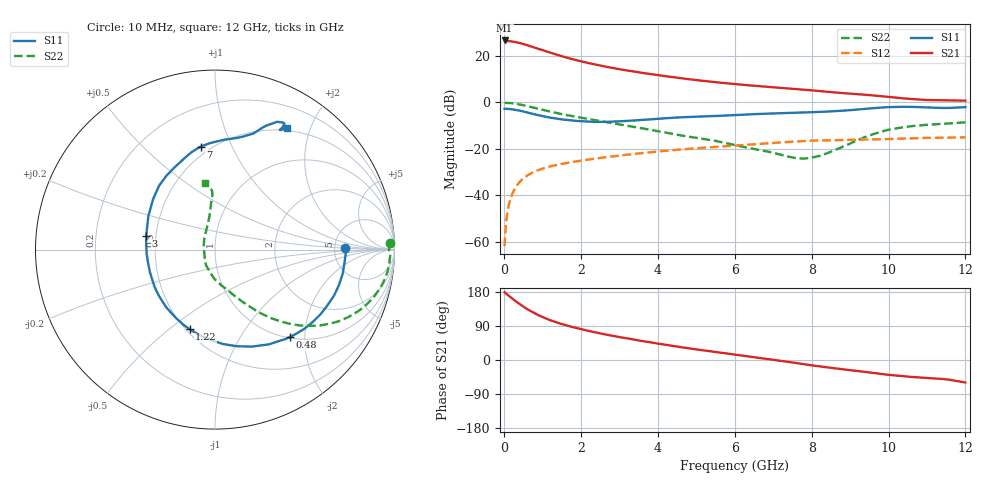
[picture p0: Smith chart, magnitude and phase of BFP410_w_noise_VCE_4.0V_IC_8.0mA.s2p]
! Infineon Technologies  Discrete & RF Semiconductors
! BFP410
! VCE =  4.0 V,  IC =  8.0 mA
! Common Emitter S-Parameters:  Nov 2015
# GHz  S  MA  R  50
!  f  S11  S21  S12  S22
! GHz  MAG  ANG  MAG  ANG  MAG  ANG  MAG  ANG
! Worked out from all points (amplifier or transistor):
!   243 points, 10 MHz to 12 GHz, reference 50 ohm
!   highest |S21| = 26.7 dB at 10 MHz (marker M1)
!   |S21| within 3 dB of that: start of sweep to 776.3 MHz
!   unconditionally stable (mu >= 1): start of sweep to 18.04 MHz; 2.638 GHz to end of sweep
!   at 240 MHz: K = 0.20, MSG = 32.2 dB, |S12| = -38.3 dB
!   at 1.84 GHz: K = 0.78, MSG = 21.9 dB, |S12| = -25.5 dB
!   at 12 GHz: K = 1.05, MAG = 6.6 dB, |S12| = -15.0 dB
!   lowest NFmin = 1.18 dB at 900 MHz
!   S11 on the Smith chart (normalised r, x): 10 MHz: 6.27, +0.27; 480 MHz: 1.02, -1.69; 1.22 GHz: 0.52, -0.59; 3 GHz: 0.44, +0.08; 7 GHz: 0.44, +0.77; 12 GHz: 0.46, +1.66
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0.01  0.7253 0.8  21.57 178.8  0.0008 24.3  0.9757 2.3
0.09  0.7239 -9.5  21.01 171.8  0.0047 77.4  0.9746 -4.3
0.2  0.7109 -21.2  20.52 163.0  0.0102 76.1  0.959 -10.1
0.26  0.6968 -27.5  20.07 158.1  0.0131 74.3  0.9453 -13.0
0.38  0.6693 -39.7  19.16 149.1  0.0184 70.3  0.9097 -18.4
0.48  0.6408 -49.4  18.23 142.0  0.0224 67.0  0.8755 -22.5
0.6  0.6073 -60.4  17.03 134.0  0.0266 63.4  0.8313 -27.0
0.8  0.5522 -77.2  15.05 122.7  0.0326 58.5  0.7584 -33.0
1  0.5043 -92.7  13.27 113.1  0.0375 54.7  0.6901 -38.0
1.22  0.4652 -107.7  11.59 104.2  0.0422 51.7  0.626 -42.3
1.4  0.4404 -119.0  10.41 97.9  0.0455 49.8  0.5804 -45.2
1.6  0.421 -130.2  9.337 91.7  0.049 48.0  0.5374 -47.9
2.02  0.3917 -150.9  7.59 80.9  0.0561 45.2  0.4651 -52.4
2.5  0.3801 -172.6  6.209 70.2  0.0638 42.3  0.3942 -57.0
3  0.3911 168.7  5.181 60.5  0.0717 39.5  0.333 -61.8
4.1  0.4495 138.8  3.763 41.8  0.0891 33.0  0.2318 -73.5
5  0.4924 123.4  3.017 27.9  0.1029 26.8  0.1723 -88.6
6.1  0.5371 108.4  2.437 12.9  0.1187 19.3  0.1158 -108.0
7  0.5797 98.0  2.114 0.4  0.1336 12.9  0.0824 -132.6
8.2  0.623 82.0  1.753 -16.6  0.1512 0.9  0.0701 152.1
10.2  0.7975 62.9  1.265 -41.0  0.1642 -14.2  0.2755 93.9
12  0.7908 59.3  1.091 -59.4  0.177 -29.5  0.373 98.8
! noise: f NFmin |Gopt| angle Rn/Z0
0.45  1.21  0.12  -6  0.18
0.9  1.18  0.11  12  0.17
1.8  1.32  0.04  55  0.17
2.4  1.3  0.01  -67  0.19
5.5  2.19  0.33  -117  0.24
10  3.37  0.67  -50  1.8
